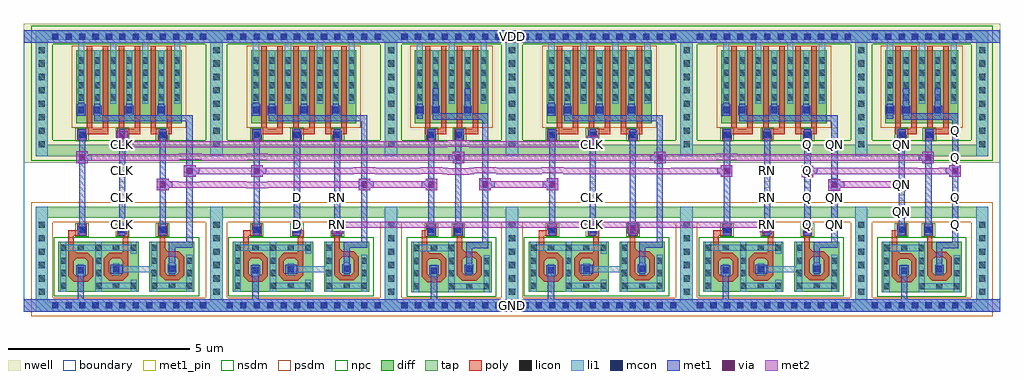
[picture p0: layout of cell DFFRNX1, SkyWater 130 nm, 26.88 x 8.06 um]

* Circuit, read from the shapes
.subckt DFFRNX1 CLK D GND Q QN RN VDD
XM1 n1 n2 GND GND sky130_fd_pr__nfet_01v8 w=2.6 l=0.1482
XM2 n1 CLK n3 GND sky130_fd_pr__nfet_01v8 w=2.52 l=0.1458
XM3 n3 n4 n5 GND sky130_fd_pr__nfet_01v8 w=2.56 l=0.1457
XM4 n6 n5 GND GND sky130_fd_pr__nfet_01v8 w=2.6 l=0.1481
XM5 n6 D n7 GND sky130_fd_pr__nfet_01v8 w=2.52 l=0.1456
XM6 n7 RN n4 GND sky130_fd_pr__nfet_01v8 w=2.56 l=0.1457
XM7 n8 n4 GND GND sky130_fd_pr__nfet_01v8 w=2.6 l=0.1472
XM8 n8 n2 n9 GND sky130_fd_pr__nfet_01v8 w=2.56 l=0.1482
XM9 n10 n9 GND GND sky130_fd_pr__nfet_01v8 w=2.6 l=0.1486
XM10 n10 CLK n11 GND sky130_fd_pr__nfet_01v8 w=2.52 l=0.1458
XM11 n11 RN n2 GND sky130_fd_pr__nfet_01v8 w=2.56 l=0.1459
XM12 n12 n5 GND GND sky130_fd_pr__nfet_01v8 w=2.6 l=0.1488
XM13 n12 RN n13 GND sky130_fd_pr__nfet_01v8 w=2.52 l=0.1458
XM14 n13 Q QN GND sky130_fd_pr__nfet_01v8 w=2.56 l=0.1456
XM15 n14 QN GND GND sky130_fd_pr__nfet_01v8 w=2.6 l=0.1473
XM16 n14 n2 Q GND sky130_fd_pr__nfet_01v8 w=2.56 l=0.1481
XM17 n5 n2 VDD VDD sky130_fd_pr__pfet_01v8 w=2 l=0.15 m=2
XM18 n5 CLK VDD VDD sky130_fd_pr__pfet_01v8 w=2 l=0.15 m=2
XM19 n5 n4 VDD VDD sky130_fd_pr__pfet_01v8 w=2 l=0.15 m=2
XM20 n4 n5 VDD VDD sky130_fd_pr__pfet_01v8 w=2 l=0.15 m=2
XM21 n4 D VDD VDD sky130_fd_pr__pfet_01v8 w=2 l=0.15 m=2
XM22 n4 RN VDD VDD sky130_fd_pr__pfet_01v8 w=2 l=0.15 m=2
XM23 n9 n4 VDD VDD sky130_fd_pr__pfet_01v8 w=2 l=0.15 m=2
XM24 n9 n2 VDD VDD sky130_fd_pr__pfet_01v8 w=2 l=0.15 m=2
XM25 n2 n9 VDD VDD sky130_fd_pr__pfet_01v8 w=2 l=0.15 m=2
XM26 n2 CLK VDD VDD sky130_fd_pr__pfet_01v8 w=2 l=0.15 m=2
XM27 n2 RN VDD VDD sky130_fd_pr__pfet_01v8 w=2 l=0.15 m=2
XM28 QN n5 VDD VDD sky130_fd_pr__pfet_01v8 w=2 l=0.15 m=2
XM29 QN RN VDD VDD sky130_fd_pr__pfet_01v8 w=2 l=0.15 m=2
XM30 QN Q VDD VDD sky130_fd_pr__pfet_01v8 w=2 l=0.15 m=2
XM31 Q QN VDD VDD sky130_fd_pr__pfet_01v8 w=2 l=0.15 m=2
XM32 Q n2 VDD VDD sky130_fd_pr__pfet_01v8 w=2 l=0.15 m=2
.ends

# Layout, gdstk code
from math import pi, radians
import gdstk
lib = gdstk.Library(unit=1e-6, precision=1e-09)
def R(c, l, rs):  # rectangles x0, y0, x1, y1
    for r in rs: c.add(gdstk.rectangle(r[:2], r[2:], *l))
def A(c, l, x, y, w, h, nx, ny, dx, dy):  # array of equal rectangles
    R(c, l, [(x+i*dx, y+j*dy, x+i*dx+w, y+j*dy+h) for i in range(nx) for j in range(ny)])
def P(c, l, *ps):  # polygons
    for p in ps: c.add(gdstk.Polygon(p, *l))
nwell = (64, 20)
diff = (65, 20)
tap = (65, 44)
poly = (66, 20)
licon = (66, 44)
li1 = (67, 20)
mcon = (67, 44)
met1_pin = (68, 16)
met1 = (68, 20)
via = (68, 44)
met2 = (69, 20)
nsdm = (93, 44)
psdm = (94, 20)
npc = (95, 20)
boundary = (235, 4)

li1_m1_contact = lib.new_cell('li1_M1_contact')
R(li1_m1_contact, li1, [(-0.085,-0.165,0.085,0.165)])
R(li1_m1_contact, mcon, [(-0.085,-0.085,0.085,0.085)])
R(li1_m1_contact, met1, [(-0.115,-0.115,0.115,-0.085), (-0.265,-0.085,0.145,0.085), (-0.115,0.085,0.115,0.115)])

diff_ring_side = lib.new_cell('diff_ring_side')
R(diff_ring_side, nwell, [(-0.435,3.93,0.435,7.75)])
R(diff_ring_side, tap, [(-0.17,-0.17,0.17,2.72), (-0.17,4.11,0.17,7.57)])
A(diff_ring_side, licon, -0.085, 0.285, 0.17, 0.17, 1, 6, 0, 0.37)
A(diff_ring_side, licon, -0.085, 4.355, 0.17, 0.17, 1, 8, 0, 0.37)
R(diff_ring_side, li1, [(-0.17,-0.17,0.17,2.72), (-0.17,4.11,0.17,7.57)])
R(diff_ring_side, met1, [(-0.17,-0.17,0.17,0.17), (-0.17,7.23,0.17,7.57)])
R(diff_ring_side, nsdm, [(-0.295,3.985,0.295,7.695)])
R(diff_ring_side, psdm, [(-0.295,-0.295,0.295,2.845)])

nmos_bottom = lib.new_cell('nmos_bottom')
R(nmos_bottom, diff, [(0,0,1.24,1.38)])
R(nmos_bottom, poly, [(0.43,0.27,0.81,0.42), (0.28,0.42,0.43,0.925), (0.81,0.42,0.96,0.925), (0.43,0.925,0.96,1.075), (0.81,1.075,0.96,1.51)])
P(nmos_bottom, poly, [(0.73,1.075),(0.81,1.075),(0.81,1.155)],
  [(0.28,0.925),(0.43,0.925),(0.43,1.075)],
  [(0.43,0.845),(0.43,0.925),(0.51,0.925)],
  [(0.73,0.925),(0.81,0.925),(0.81,0.845)],
  [(0.43,0.5),(0.43,0.42),(0.51,0.42)],
  [(0.73,0.42),(0.81,0.42),(0.81,0.5)],
  [(0.28,0.42),(0.43,0.42),(0.43,0.27)],
  [(0.81,0.27),(0.81,0.42),(0.96,0.42)])
A(nmos_bottom, licon, 0.05, 1.13, 0.17, 0.17, 3, 1, 0.485, 0)
R(nmos_bottom, licon, [(0.05,0.08,0.22,0.25), (1.02,0.08,1.19,0.25), (0.05,0.43,0.22,0.6), (1.02,0.43,1.19,0.6), (0.535,0.505,0.705,0.675), (0.05,0.77,0.22,0.94), (1.02,0.77,1.19,0.94)])
R(nmos_bottom, li1, [(0.05,0,0.22,1.13), (1.02,0,1.19,1.13), (0.535,0.425,0.705,0.755), (0.05,1.13,1.19,1.3), (0.05,1.3,0.22,1.38), (1.02,1.3,1.19,1.38)])
R(nmos_bottom, nsdm, [(-0.125,-0.125,1.365,1.505)])

pmos2 = lib.new_cell('pmos2')
R(pmos2, nwell, [(0.26,-2.18,1.76,0.18)])
R(pmos2, diff, [(0.44,-2,1.58,0)])
R(pmos2, poly, [(0.72,-2.305,1.31,-2.155), (0.72,-2.155,0.87,0.13), (1.16,-2.155,1.31,0.13)])
A(pmos2, licon, 0.49, -1.38, 0.17, 0.17, 3, 4, 0.44, 0.34)
R(pmos2, li1, [(0.49,-1.465,0.66,0.21), (0.93,-1.465,1.1,0), (1.37,-1.465,1.54,0.21)])
R(pmos2, psdm, [(0.315,-2.125,1.705,0.125)])

poly_li1_contact = lib.new_cell('poly_li1_contact')
R(poly_li1_contact, poly, [(-0.16,-0.14,0.17,0.13)])
R(poly_li1_contact, licon, [(-0.08,-0.09,0.09,0.08)])
R(poly_li1_contact, li1, [(-0.16,-0.09,0.17,0.08)])
R(poly_li1_contact, npc, [(-0.18,-0.19,0.19,0.18)])

nmos_side_left = lib.new_cell('nmos_side_left')
R(nmos_side_left, diff, [(0,0,1.24,1.38)])
R(nmos_side_left, poly, [(0.435,0.305,0.81,0.455), (0.285,0.455,0.435,0.925), (0.81,0.455,0.96,0.925), (0.435,0.925,0.96,1.075), (0.81,1.075,0.96,1.51)])
P(nmos_side_left, poly, [(0.285,0.925),(0.435,0.925),(0.435,1.075)],
  [(0.435,0.845),(0.435,0.925),(0.515,0.925)],
  [(0.73,0.925),(0.81,0.925),(0.81,0.845)],
  [(0.435,0.535),(0.435,0.455),(0.515,0.455)],
  [(0.73,0.455),(0.81,0.455),(0.81,0.535)],
  [(0.285,0.455),(0.435,0.455),(0.435,0.305)],
  [(0.81,0.305),(0.81,0.455),(0.96,0.455)])
A(nmos_side_left, licon, 0.05, 0.08, 0.17, 0.17, 3, 2, 0.485, 1.05)
R(nmos_side_left, licon, [(0.05,0.43,0.22,0.6), (0.54,0.535,0.71,0.705), (0.05,0.77,0.22,0.94)])
R(nmos_side_left, li1, [(0.05,0,0.22,0.08), (1.02,0,1.19,0.08), (0.05,0.08,1.19,0.25), (0.05,0.25,0.22,1.13), (1.02,0.25,1.19,0.33), (0.54,0.455,0.71,0.785), (1.02,1.05,1.19,1.13), (0.05,1.13,1.19,1.3), (0.05,1.3,0.22,1.38), (1.02,1.3,1.19,1.38)])
R(nmos_side_left, nsdm, [(-0.125,-0.125,1.365,1.505)])

nmos_top_trim1 = lib.new_cell('nmos_top_trim1')
R(nmos_top_trim1, diff, [(0,0,1.24,1.38)])
R(nmos_top_trim1, poly, [(0.43,0.31,0.81,0.46), (0.28,0.46,0.43,0.965), (0.81,0.46,0.96,0.965), (0.43,0.965,0.96,1.115), (0.81,1.115,0.96,1.545)])
P(nmos_top_trim1, poly, [(0.73,1.115),(0.81,1.115),(0.81,1.195)],
  [(0.28,0.965),(0.43,0.965),(0.43,1.115)],
  [(0.43,0.885),(0.43,0.965),(0.51,0.965)],
  [(0.73,0.965),(0.81,0.965),(0.81,0.885)],
  [(0.43,0.54),(0.43,0.46),(0.51,0.46)],
  [(0.73,0.46),(0.81,0.46),(0.81,0.54)],
  [(0.28,0.46),(0.43,0.46),(0.43,0.31)],
  [(0.81,0.31),(0.81,0.46),(0.96,0.46)])
A(nmos_top_trim1, licon, 0.05, 0.08, 0.17, 0.17, 3, 1, 0.485, 0)
R(nmos_top_trim1, licon, [(0.05,0.43,0.22,0.6), (1.02,0.43,1.19,0.6), (0.535,0.55,0.705,0.72), (0.05,0.77,0.22,0.94), (1.02,0.77,1.19,0.94), (1.02,1.13,1.19,1.3)])
R(nmos_top_trim1, li1, [(0.05,0,0.22,0.08), (1.02,0,1.19,0.08), (0.05,0.08,1.19,0.25), (0.05,0.25,0.22,1.02), (1.02,0.25,1.19,1.38), (0.535,0.47,0.705,0.805)])
R(nmos_top_trim1, nsdm, [(-0.125,-0.125,1.365,1.505)])

nand3x1_pcell = lib.new_cell('nand3x1_pcell')
R(nand3x1_pcell, nwell, [(0.435,3.93,4.375,5.28), (0.435,5.28,1.1,5.295), (1.395,5.28,4.375,5.495), (0.435,5.295,1.025,5.465), (1.145,5.295,1.315,5.465), (0.435,5.465,1.1,5.495), (0.435,5.495,4.375,7.75)])
A(nand3x1_pcell, diff, 1.445, 5.295, 0.17, 0.17, 3, 1, 0.88, 0)
R(nand3x1_pcell, diff, [(1.005,5.295,1.175,5.465)])
R(nand3x1_pcell, tap, [(0.17,-0.17,4.64,0.085), (0.17,2.41,4.64,2.72), (0.17,4.11,4.64,4.42), (0.17,7.315,4.64,7.57)])
R(nand3x1_pcell, poly, [(0.735,1.885,0.885,1.915), (2.235,1.885,2.385,1.915), (0.735,1.915,0.975,2.065), (2.355,1.915,2.385,2.065)])
A(nand3x1_pcell, licon, 0.285, -0.085, 0.17, 0.17, 12, 2, 0.37, 7.4)
A(nand3x1_pcell, licon, 1.445, 5.295, 0.17, 0.17, 3, 1, 0.88, 0)
R(nand3x1_pcell, licon, [(1.005,5.295,1.175,5.465)])
A(nand3x1_pcell, li1, 1.025, 1.995, 0.17, 0.17, 3, 2, 1.11, 2.62)
R(nand3x1_pcell, li1, [(0.17,-0.17,4.65,0.17), (0.99,0.88,1.16,1.05), (1.965,0.91,3.015,1.08), (3.5,0.925,3.67,1.095), (1.005,5.215,1.175,5.6), (1.445,5.215,1.615,5.56), (2.325,5.215,2.495,5.585), (3.205,5.215,3.375,5.56), (0.07,7.23,4.715,7.57)])
A(nand3x1_pcell, mcon, 0.285, -0.085, 0.17, 0.17, 12, 2, 0.37, 7.4)
A(nand3x1_pcell, mcon, 1.025, 1.995, 0.17, 0.17, 3, 2, 1.11, 2.62)
A(nand3x1_pcell, mcon, 1.445, 5.295, 0.17, 0.17, 3, 1, 0.88, 0)
R(nand3x1_pcell, mcon, [(0.99,0.88,1.16,1.05), (1.965,0.91,2.135,1.08), (3.5,0.925,3.67,1.095), (1.005,5.295,1.175,5.465)])
A(nand3x1_pcell, met1, 1.025, 1.915, 0.17, 0.04, 3, 1, 1.11, 0)
A(nand3x1_pcell, met1, 1.445, 5.495, 0.17, 0.06, 3, 1, 0.88, 0)
R(nand3x1_pcell, met1, [(0.17,-0.17,4.64,0.17), (0.99,0.17,1.16,0.835), (0.945,0.835,1.205,1.11), (1.89,0.865,2.225,1.115), (3.5,0.865,3.67,0.895), (3.47,0.895,3.7,1.125), (3.5,1.125,3.67,1.58), (3.5,1.58,4.155,1.75), (3.985,1.75,4.155,5.07), (0.995,1.955,1.225,2.195), (2.105,1.955,2.34,2.195), (3.215,1.955,3.445,2.195), (1.025,2.195,1.195,4.575), (2.135,2.195,2.305,4.585), (3.245,2.195,3.415,4.57), (3.215,4.57,3.445,4.815), (0.99,4.575,1.23,4.835), (2.105,4.585,2.335,4.815), (2.135,4.815,2.305,4.845), (3.245,4.815,3.415,4.845), (1.025,4.835,1.195,4.845), (1.445,5.07,4.155,5.24), (0.965,5.215,1.205,5.535), (1.415,5.24,1.65,5.495), (2.29,5.24,2.53,5.495), (3.175,5.24,3.405,5.495), (1.005,5.535,1.175,5.58), (0.17,7.23,4.64,7.57)])
R(nand3x1_pcell, nsdm, [(2.79,0.25,2.84,1.88), (0.045,3.985,4.765,4.545), (0.045,7.19,4.765,7.695)])
R(nand3x1_pcell, psdm, [(0.045,-0.295,4.765,0.21), (0.045,2.285,4.765,2.845), (0.88,5.17,1.74,5.59), (2.2,5.17,2.62,5.59), (3.08,5.17,3.5,5.59)])
nand3x1_pcell.add(gdstk.Reference(diff_ring_side, (0,0)))
nand3x1_pcell.add(gdstk.Reference(nmos_bottom, (1.695,0.375), rotation=pi, x_reflection=True))
nand3x1_pcell.add(gdstk.Reference(pmos2, (0.515,7.02)))
nand3x1_pcell.add(gdstk.Reference(poly_li1_contact, (1.115,4.705), rotation=3*pi/2))
nand3x1_pcell.add(gdstk.Reference(poly_li1_contact, (1.105,2.075), rotation=pi/2))
nand3x1_pcell.add(gdstk.Reference(nmos_side_left, (1.425,0.375)))
nand3x1_pcell.add(gdstk.Reference(pmos2, (1.395,7.02)))
nand3x1_pcell.add(gdstk.Reference(pmos2, (2.275,7.02)))
nand3x1_pcell.add(gdstk.Reference(poly_li1_contact, (2.215,2.075), rotation=pi/2))
nand3x1_pcell.add(gdstk.Reference(poly_li1_contact, (2.215,4.695), rotation=pi/2))
nand3x1_pcell.add(gdstk.Reference(nmos_top_trim1, (4.205,0.375), rotation=pi, x_reflection=True))
nand3x1_pcell.add(gdstk.Reference(poly_li1_contact, (3.325,2.075), rotation=pi/2))
nand3x1_pcell.add(gdstk.Reference(poly_li1_contact, (3.335,4.705), rotation=3*pi/2))
nand3x1_pcell.add(gdstk.Reference(diff_ring_side, (4.81,0)))

nand2x1_pcell = lib.new_cell('nand2x1_pcell')
R(nand2x1_pcell, nwell, [(0.435,3.93,2.895,7.75)])
R(nand2x1_pcell, diff, [(1.115,5.265,1.345,5.5), (1.995,5.265,2.225,5.5), (0.705,5.295,0.875,5.465)])
R(nand2x1_pcell, tap, [(0.17,-0.17,3.16,-0.15), (0.155,-0.15,3.175,0.085), (0.155,2.4,0.17,2.41), (3.16,2.4,3.175,2.41), (0.155,2.41,3.175,2.71), (0.17,2.71,3.16,2.72), (0.17,4.11,3.16,4.42), (0.17,7.315,3.16,7.57)])
R(nand2x1_pcell, poly, [(0.84,1.875,0.99,2.065), (1.81,1.91,1.96,1.915)])
A(nand2x1_pcell, licon, 0.285, -0.085, 0.17, 0.17, 8, 2, 0.37, 7.4)
R(nand2x1_pcell, licon, [(0.705,5.295,0.875,5.465), (1.145,5.295,1.315,5.465), (2.025,5.295,2.195,5.465)])
R(nand2x1_pcell, li1, [(0.165,-0.17,3.295,0.17), (1.095,0.87,1.265,1.04), (2.065,0.915,2.235,1.085), (1.025,1.995,1.195,2.165), (1.765,1.995,1.935,2.165), (1.025,4.615,1.195,4.785), (1.795,4.615,1.965,4.785), (0.705,5.215,0.875,5.61), (1.145,5.215,1.315,5.61), (2.025,5.215,2.195,5.61), (-0.17,7.23,3.17,7.57)])
A(nand2x1_pcell, mcon, 0.285, -0.085, 0.17, 0.17, 8, 2, 0.37, 7.4)
R(nand2x1_pcell, mcon, [(1.095,0.87,1.265,1.04), (2.065,0.915,2.235,1.085), (1.025,1.995,1.195,2.165), (1.765,1.995,1.935,2.165), (1.025,4.615,1.195,4.785), (1.795,4.615,1.965,4.785), (0.705,5.295,0.875,5.465), (1.145,5.295,1.315,5.465), (2.025,5.295,2.195,5.465)])
R(nand2x1_pcell, met1, [(-0.17,-0.17,3.5,0.17), (1.095,0.17,1.265,0.825), (1.045,0.825,1.31,1.1), (2.035,0.855,2.265,1.12), (2.065,1.12,2.235,1.57), (2.065,1.57,2.675,1.74), (2.505,1.74,2.675,5.115), (0.99,1.935,1.23,2.205), (1.735,1.935,1.97,2.205), (1.025,2.205,1.195,4.56), (1.765,2.205,1.935,4.555), (1.765,4.555,1.97,4.58), (0.995,4.56,1.23,4.845), (1.765,4.58,1.995,4.845), (1.145,5.115,2.675,5.265), (0.705,5.135,0.875,5.265), (0.675,5.265,0.905,5.5), (1.115,5.265,2.675,5.285), (1.115,5.285,1.345,5.5), (1.995,5.285,2.225,5.5), (0.705,5.5,0.875,5.555), (1.145,5.5,1.315,5.98), (2.025,5.5,2.195,5.98), (-0.17,7.23,3.5,7.57)])
R(nand2x1_pcell, nsdm, [(0.045,3.985,3.285,4.545), (0.045,7.19,3.285,7.695)])
R(nand2x1_pcell, psdm, [(0.045,-0.295,3.285,-0.275), (0.03,-0.275,3.3,0.21), (0.03,2.275,0.295,2.285), (3.035,2.275,3.3,2.285), (0.03,2.285,3.3,2.835), (0.045,2.835,3.285,2.845), (0.99,5.14,1.47,5.17), (1.87,5.14,2.35,5.625), (0.58,5.17,1.47,5.59), (0.99,5.59,1.47,5.625)])
nand2x1_pcell.add(gdstk.Reference(diff_ring_side, (0,0)))
nand2x1_pcell.add(gdstk.Reference(nmos_bottom, (1.8,0.365), rotation=pi, x_reflection=True))
nand2x1_pcell.add(gdstk.Reference(pmos2, (0.215,7.02)))
nand2x1_pcell.add(gdstk.Reference(poly_li1_contact, (1.115,4.705), rotation=3*pi/2))
nand2x1_pcell.add(gdstk.Reference(poly_li1_contact, (1.115,2.085), rotation=3*pi/2))
nand2x1_pcell.add(gdstk.Reference(nmos_top_trim1, (2.77,0.365), rotation=pi, x_reflection=True))
nand2x1_pcell.add(gdstk.Reference(pmos2, (1.095,7.02)))
nand2x1_pcell.add(gdstk.Reference(poly_li1_contact, (1.845,2.075), rotation=pi/2))
nand2x1_pcell.add(gdstk.Reference(poly_li1_contact, (1.885,4.705), rotation=3*pi/2))
nand2x1_pcell.add(gdstk.Reference(diff_ring_side, (3.33,0)))

dffrnx1_pcell = lib.new_cell('dffrnx1_pcell')
R(dffrnx1_pcell, met1, [(7.985,1.965,8.305,2.285), (16.125,1.965,16.445,2.285), (19.775,2.015,20.095,2.335), (3.17,3.17,3.49,3.49), (8.725,3.17,9.045,3.49), (10.57,3.17,10.89,3.49), (12.05,3.175,12.37,3.495), (13.905,3.175,14.225,3.495), (5.765,3.54,6.085,3.86), (18.7,3.54,19.02,3.86), (3.915,3.545,4.235,3.865), (11.315,3.91,11.635,4.23), (16.865,3.915,17.185,4.235), (24.25,3.915,24.57,4.235), (0.95,3.92,1.27,4.24), (15.005,4.355,15.325,4.675), (2.055,4.495,2.375,4.815)])
R(dffrnx1_pcell, via, [(8.07,2.05,8.22,2.2), (16.21,2.05,16.36,2.2), (19.86,2.1,20.01,2.25), (3.255,3.255,3.405,3.405), (8.81,3.255,8.96,3.405), (10.655,3.255,10.805,3.405), (12.135,3.26,12.285,3.41), (13.99,3.26,14.14,3.41), (5.85,3.625,6,3.775), (18.785,3.625,18.935,3.775), (4,3.63,4.15,3.78), (11.4,3.995,11.55,4.145), (16.95,4,17.1,4.15), (24.335,4,24.485,4.15), (1.035,4.005,1.185,4.155), (15.09,4.44,15.24,4.59), (2.14,4.58,2.29,4.73)])
R(dffrnx1_pcell, met2, [(7.985,1.965,8.305,2.135), (16.125,1.965,16.445,2.135), (19.775,2.015,20.095,2.135), (7.985,2.135,20.095,2.285), (8.035,2.285,20.095,2.305), (19.775,2.305,20.095,2.335), (3.17,3.17,3.49,3.245), (8.725,3.17,9.045,3.245), (10.57,3.17,10.89,3.245), (12.05,3.175,12.37,3.245), (13.905,3.175,14.225,3.245), (5.625,3.23,6.225,3.245), (3.775,3.235,4.375,3.245), (3.17,3.245,10.89,3.4), (12.05,3.245,14.225,3.415), (3.17,3.4,5.625,3.405), (6.225,3.4,10.89,3.415), (3.17,3.405,3.775,3.415), (4.375,3.405,5.625,3.415), (3.17,3.415,3.49,3.49), (8.725,3.415,9.045,3.49), (10.57,3.415,10.89,3.49), (12.05,3.415,12.37,3.495), (13.905,3.415,14.225,3.495), (5.765,3.54,6.085,3.615), (18.7,3.54,19.02,3.615), (3.915,3.545,4.235,3.615), (11.175,3.6,11.775,3.615), (16.725,3.605,17.325,3.615), (3.915,3.615,8.585,3.63), (9.185,3.615,10.43,3.63), (11.03,3.615,11.91,3.63), (12.51,3.615,13.765,3.635), (14.365,3.615,19.02,3.635), (3.915,3.63,11.91,3.635), (3.915,3.635,19.02,3.77), (3.915,3.77,11.175,3.785), (11.775,3.77,19.02,3.775), (11.775,3.775,16.725,3.785), (17.325,3.775,19.02,3.785), (3.915,3.785,4.235,3.865), (5.765,3.785,6.085,3.86), (8.585,3.785,9.185,3.8), (10.43,3.785,11.03,3.8), (11.91,3.785,12.51,3.805), (13.765,3.785,14.365,3.805), (18.7,3.785,19.02,3.86), (11.315,3.91,11.635,3.985), (16.865,3.915,17.185,3.985), (24.25,3.915,24.57,3.985), (0.95,3.92,1.27,3.985), (0.95,3.985,3.77,4.005), (4.41,3.985,5.625,4), (6.225,3.985,18.56,4), (19.16,3.985,24.57,4), (4.41,4,24.57,4.005), (0.95,4.005,24.57,4.155), (0.95,4.155,1.27,4.24), (3.77,4.155,4.41,4.175), (5.625,4.155,6.225,4.17), (11.315,4.155,11.635,4.23), (16.865,4.155,17.185,4.235), (18.56,4.155,19.16,4.17), (24.25,4.155,24.57,4.235), (2.15,4.355,11.175,4.36), (11.775,4.355,15.325,4.37), (2.13,4.36,11.175,4.37), (2.13,4.37,15.325,4.495), (2.055,4.495,15.325,4.525), (2.055,4.525,2.375,4.815), (11.175,4.525,11.775,4.54), (15.005,4.525,15.325,4.675)])
dffrnx1_pcell.add(gdstk.Reference(li1_m1_contact, (4.07,3.7), rotation=pi))
dffrnx1_pcell.add(gdstk.Reference(li1_m1_contact, (3.33,3.33), rotation=pi))
dffrnx1_pcell.add(gdstk.Reference(li1_m1_contact, (1.11,4.07), rotation=pi))
dffrnx1_pcell.add(gdstk.Reference(nand3x1_pcell, (0,0)))
dffrnx1_pcell.add(gdstk.Reference(nand3x1_pcell, (4.81,0)))
dffrnx1_pcell.add(gdstk.Reference(li1_m1_contact, (10.73,3.33)))
dffrnx1_pcell.add(gdstk.Reference(li1_m1_contact, (8.88,3.33), rotation=pi))
dffrnx1_pcell.add(gdstk.Reference(li1_m1_contact, (5.92,3.7), rotation=pi))
dffrnx1_pcell.add(gdstk.Reference(nand2x1_pcell, (9.62,0)))
dffrnx1_pcell.add(gdstk.Reference(li1_m1_contact, (11.47,4.07)))
dffrnx1_pcell.add(gdstk.Reference(li1_m1_contact, (12.21,3.33), rotation=pi))
dffrnx1_pcell.add(gdstk.Reference(li1_m1_contact, (14.06,3.33)))
dffrnx1_pcell.add(gdstk.Reference(nand3x1_pcell, (12.95,0)))
dffrnx1_pcell.add(gdstk.Reference(li1_m1_contact, (18.87,3.7)))
dffrnx1_pcell.add(gdstk.Reference(li1_m1_contact, (17.02,4.07)))
dffrnx1_pcell.add(gdstk.Reference(nand2x1_pcell, (22.57,0)))
dffrnx1_pcell.add(gdstk.Reference(nand3x1_pcell, (17.76,0)))
dffrnx1_pcell.add(gdstk.Reference(li1_m1_contact, (24.42,4.07)))

dffrnx1 = lib.new_cell('DFFRNX1')
R(dffrnx1, nwell, [(0,4.11,26.88,7.94)])
R(dffrnx1, tap, [(0.32,0,26.56,0.03), (0.32,7.75,26.56,7.76)])
R(dffrnx1, li1, [(0,0,26.88,0.35), (0,7.41,26.88,7.76)])
A(dffrnx1, met1_pin, 2.625, 2.315, 0.17, 0.17, 1, 5, 0, 0.37)
A(dffrnx1, met1_pin, 7.435, 2.315, 0.17, 0.17, 1, 3, 0, 0.37)
A(dffrnx1, met1_pin, 8.545, 2.315, 0.17, 0.17, 1, 3, 0, 0.37)
A(dffrnx1, met1_pin, 15.575, 2.315, 0.17, 0.17, 1, 4, 0, 0.37)
A(dffrnx1, met1_pin, 20.385, 2.315, 0.17, 0.17, 1, 5, 0, 0.37)
A(dffrnx1, met1_pin, 21.495, 2.315, 0.17, 0.17, 1, 5, 0, 0.37)
A(dffrnx1, met1_pin, 22.235, 2.315, 0.17, 0.17, 1, 4, 0, 0.37)
A(dffrnx1, met1_pin, 25.565, 2.315, 0.17, 0.17, 1, 8, 0, 0.37)
A(dffrnx1, met1_pin, 24.085, 2.685, 0.17, 0.17, 1, 3, 0, 0.37)
R(dffrnx1, met1_pin, [(0,0,26.88,0.35), (2.625,4.535,2.795,4.705), (15.575,4.535,15.745,4.705), (21.495,4.535,21.665,4.705), (22.235,4.535,22.405,4.705), (24.085,4.535,24.255,4.705), (22.235,4.905,22.405,5.075), (0,7.41,26.88,7.76)])
A(dffrnx1, met1, 2.625, 2.315, 0.17, 0.17, 1, 5, 0, 0.37)
A(dffrnx1, met1, 7.435, 2.315, 0.17, 0.17, 1, 3, 0, 0.37)
A(dffrnx1, met1, 8.545, 2.315, 0.17, 0.17, 1, 3, 0, 0.37)
A(dffrnx1, met1, 15.575, 2.315, 0.17, 0.17, 1, 4, 0, 0.37)
A(dffrnx1, met1, 20.385, 2.315, 0.17, 0.17, 1, 5, 0, 0.37)
A(dffrnx1, met1, 21.495, 2.315, 0.17, 0.17, 1, 4, 0, 0.37)
A(dffrnx1, met1, 22.235, 2.315, 0.17, 0.17, 1, 3, 0, 0.37)
A(dffrnx1, met1, 25.565, 2.315, 0.17, 0.17, 1, 4, 0, 0.37)
A(dffrnx1, met1, 25.565, 4.165, 0.17, 0.17, 1, 3, 0, 0.37)
R(dffrnx1, met1, [(0,0,26.88,0.35), (24.085,2.685,24.255,2.855), (24.085,3.055,24.255,3.225), (22.155,3.335,22.475,3.655), (24.015,3.335,24.335,3.655), (21.415,3.705,21.735,4.025), (25.485,3.72,25.805,4.04), (2.625,4.535,2.795,4.705), (15.575,4.535,15.745,4.705), (21.495,4.535,21.665,4.705), (22.235,4.535,22.405,4.705), (24.085,4.535,24.255,4.705), (22.235,4.905,22.405,5.075), (0,7.41,26.88,7.76)])
R(dffrnx1, via, [(22.24,3.42,22.39,3.57), (24.1,3.42,24.25,3.57), (21.5,3.79,21.65,3.94), (25.57,3.805,25.72,3.955)])
R(dffrnx1, met2, [(22.155,3.335,22.475,3.425), (24.015,3.335,24.335,3.425), (22.155,3.425,24.335,3.595), (22.155,3.595,22.475,3.655), (24.015,3.595,24.335,3.655), (21.415,3.705,21.735,3.795), (25.485,3.72,25.805,3.795), (24.6,3.785,25.2,3.795), (21.415,3.795,25.805,3.955), (21.415,3.955,24.6,3.965), (25.2,3.955,25.805,3.965), (21.415,3.965,21.735,4.025), (25.485,3.965,25.805,4.04)])
R(dffrnx1, nsdm, [(0.195,7.625,26.685,7.885)])
R(dffrnx1, psdm, [(0.195,-0.125,26.685,0.155)])
R(dffrnx1, boundary, [(0,0,26.88,7.76)])
dffrnx1.add(gdstk.Reference(li1_m1_contact, (25.65,3.88)))
dffrnx1.add(gdstk.Reference(li1_m1_contact, (22.32,3.51), rotation=pi))
dffrnx1.add(gdstk.Reference(li1_m1_contact, (24.17,3.51)))
dffrnx1.add(gdstk.Reference(li1_m1_contact, (21.58,3.88), rotation=pi))
dffrnx1.add(gdstk.Reference(dffrnx1_pcell, (0.49,0.18)))
dffrnx1.add(gdstk.Label('Q', (21.58,2.4), layer=68, texttype=5))
dffrnx1.add(gdstk.Label('Q', (21.58,2.77), layer=68, texttype=5))
dffrnx1.add(gdstk.Label('Q', (21.58,3.14), layer=68, texttype=5))
dffrnx1.add(gdstk.Label('Q', (21.58,3.51), layer=68, texttype=5))
dffrnx1.add(gdstk.Label('Q', (21.58,3.88), layer=68, texttype=5))
dffrnx1.add(gdstk.Label('Q', (21.58,4.62), layer=68, texttype=5))
dffrnx1.add(gdstk.Label('Q', (25.65,2.4), layer=68, texttype=5))
dffrnx1.add(gdstk.Label('Q', (25.65,2.77), layer=68, texttype=5))
dffrnx1.add(gdstk.Label('Q', (25.65,3.14), layer=68, texttype=5))
dffrnx1.add(gdstk.Label('Q', (25.65,3.51), layer=68, texttype=5))
dffrnx1.add(gdstk.Label('Q', (25.65,4.99), layer=68, texttype=5))
dffrnx1.add(gdstk.Label('Q', (25.65,4.62), layer=68, texttype=5))
dffrnx1.add(gdstk.Label('Q', (25.65,4.25), layer=68, texttype=5))
dffrnx1.add(gdstk.Label('Q', (25.65,3.88), layer=68, texttype=5))
dffrnx1.add(gdstk.Label('QN', (24.17,4.62), layer=68, texttype=5))
dffrnx1.add(gdstk.Label('QN', (24.17,2.77), layer=68, texttype=5))
dffrnx1.add(gdstk.Label('QN', (24.17,3.14), layer=68, texttype=5))
dffrnx1.add(gdstk.Label('QN', (24.17,3.51), layer=68, texttype=5))
dffrnx1.add(gdstk.Label('QN', (22.32,4.62), layer=68, texttype=5))
dffrnx1.add(gdstk.Label('QN', (22.32,4.99), layer=68, texttype=5))
dffrnx1.add(gdstk.Label('QN', (22.32,2.4), layer=68, texttype=5))
dffrnx1.add(gdstk.Label('QN', (22.32,2.77), layer=68, texttype=5))
dffrnx1.add(gdstk.Label('QN', (22.32,3.14), layer=68, texttype=5))
dffrnx1.add(gdstk.Label('QN', (22.32,3.51), layer=68, texttype=5))
dffrnx1.add(gdstk.Label('D', (7.52,2.4), layer=68, texttype=5))
dffrnx1.add(gdstk.Label('D', (7.52,2.77), layer=68, texttype=5))
dffrnx1.add(gdstk.Label('D', (7.52,3.14), layer=68, texttype=5))
dffrnx1.add(gdstk.Label('CLK', (15.66,4.62), layer=68, texttype=5))
dffrnx1.add(gdstk.Label('CLK', (15.66,2.4), layer=68, texttype=5))
dffrnx1.add(gdstk.Label('CLK', (15.66,2.77), layer=68, texttype=5))
dffrnx1.add(gdstk.Label('CLK', (15.66,3.14), layer=68, texttype=5))
dffrnx1.add(gdstk.Label('CLK', (15.66,3.51), layer=68, texttype=5))
dffrnx1.add(gdstk.Label('CLK', (2.71,2.4), layer=68, texttype=5))
dffrnx1.add(gdstk.Label('CLK', (2.71,2.77), layer=68, texttype=5))
dffrnx1.add(gdstk.Label('CLK', (2.71,3.14), layer=68, texttype=5))
dffrnx1.add(gdstk.Label('CLK', (2.71,3.51), layer=68, texttype=5))
dffrnx1.add(gdstk.Label('CLK', (2.71,3.88), layer=68, texttype=5))
dffrnx1.add(gdstk.Label('CLK', (2.71,4.62), layer=68, texttype=5))
dffrnx1.add(gdstk.Label('RN', (20.47,3.88), layer=68, texttype=5))
dffrnx1.add(gdstk.Label('RN', (20.47,3.51), layer=68, texttype=5))
dffrnx1.add(gdstk.Label('RN', (20.47,3.14), layer=68, texttype=5))
dffrnx1.add(gdstk.Label('RN', (20.47,2.77), layer=68, texttype=5))
dffrnx1.add(gdstk.Label('RN', (20.47,2.4), layer=68, texttype=5))
dffrnx1.add(gdstk.Label('RN', (8.63,3.14), layer=68, texttype=5))
dffrnx1.add(gdstk.Label('RN', (8.63,2.77), layer=68, texttype=5))
dffrnx1.add(gdstk.Label('RN', (8.63,2.4), layer=68, texttype=5))
dffrnx1.add(gdstk.Label('GND', (13.44,0.175), layer=68, texttype=5))
dffrnx1.add(gdstk.Label('VDD', (13.44,7.585), layer=68, texttype=5))

lib.write_gds('DFFRNX1.gds')
